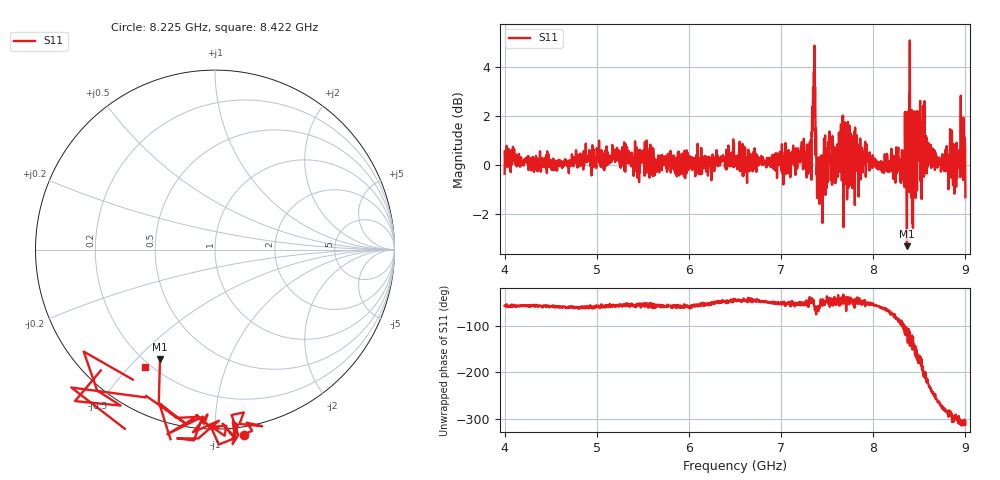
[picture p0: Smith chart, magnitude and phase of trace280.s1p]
! Created with skrf 1.8.0 (http://scikit-rf.org).
# Hz S RI R 50.0
!freq ReS11 ImS11
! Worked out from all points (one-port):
!   1601 points, 4 GHz to 9 GHz, reference 50 ohm
!   lowest |S11| = -3.3 dB at 8.366 GHz (marker M1), VSWR 5.31, Z = 12.8 - j29.4 ohm
!   |S11| at or under -10 dB: nowhere
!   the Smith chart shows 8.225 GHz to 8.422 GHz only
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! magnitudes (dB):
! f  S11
! 4 GHz  -0.3
! 4.097 GHz  0.2
! 4.625 GHz  -0.1
! 5.25 GHz  0.0
! 5.875 GHz  0.2
! 6.5 GHz  0.1
! 7.125 GHz  0.6
! 7.303 GHz  0.5
! 7.356 GHz  3.8
! 7.372 GHz  2.2
! 7.4 GHz  -0.5
! 7.428 GHz  0.3
! 7.503 GHz  -0.4
! 7.591 GHz  0.0
! 7.669 GHz  0.7
! 7.75 GHz  0.1
! 8.316 GHz  0.6
! 8.334 GHz  -0.8
! 8.366 GHz  -3.3
! 8.375 GHz  0.9
! 8.447 GHz  2.2
! 8.459 GHz  -1.3
! 8.522 GHz  1.7
! 8.606 GHz  0.0
! 8.722 GHz  0.0
! 8.919 GHz  -0.1
! 8.972 GHz  0.7
! 9 GHz  -1.3
